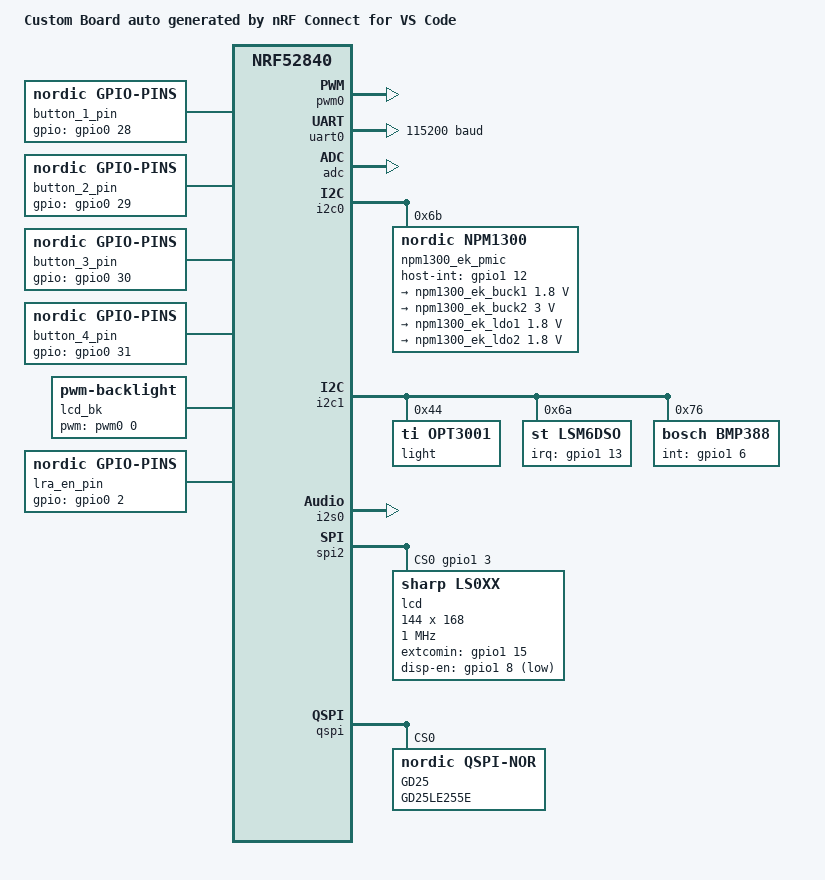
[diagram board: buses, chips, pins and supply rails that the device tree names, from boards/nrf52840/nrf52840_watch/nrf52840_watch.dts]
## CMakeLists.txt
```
cmake_minimum_required(VERSION 3.20.0)
find_package(Zephyr)
project(nrf5340-peripherals)

file(GLOB app_sources src/*.c)
target_sources(app PRIVATE ${app_sources})
```

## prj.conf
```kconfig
#
# Copyright (c) 2022 Nordic Semiconductor ASA
#
# SPDX-License-Identifier: LicenseRef-Nordic-5-Clause
#
CONFIG_PRINTK=y
CONFIG_FLASH=y

CONFIG_PWM=y
CONFIG_ADC=y
CONFIG_ADC_NRFX_SAADC=y

CONFIG_SPI=y
CONFIG_SPI_SHELL=y
CONFIG_FLASH=y
CONFIG_NORDIC_QSPI_NOR=y

CONFIG_I2C=y
CONFIG_I2C_SHELL=y

CONFIG_LED=y
CONFIG_GPIO=y
CONFIG_REGULATOR=y
CONFIG_SENSOR=y
CONFIG_DISPLAY=y

CONFIG_I2S=y

CONFIG_NCS_SAMPLES_DEFAULTS=y
CONFIG_BT=y
CONFIG_BT_SMP=y
CONFIG_BT_PERIPHERAL=y
CONFIG_BT_DEVICE_NAME="BT_watch_shell"
CONFIG_BT_DEVICE_APPEARANCE=833
CONFIG_BT_MAX_CONN=2
CONFIG_BT_MAX_PAIRED=2

CONFIG_SHELL=n
CONFIG_SHELL_BT_NUS=y
CONFIG_SHELL_BT_NUS_LOG_LEVEL_DBG=y

CONFIG_PM_DEVICE=y
CONFIG_POWEROFF=y
CONFIG_NRFX_TIMER0=y
CONFIG_DYNAMIC_INTERRUPTS=y
CONFIG_TEST_RANDOM_GENERATOR=y

CONFIG_HEAP_MEM_POOL_SIZE=4096
```

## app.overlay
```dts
/*
 * Copyright (c) 2022 Nordic Semiconductor ASA
 *
 * SPDX-License-Identifier: LicenseRef-Nordic-5-Clause
 */

#include <dt-bindings/regulator/npm1300.h>

/ {
	lra_en_pin: lra-en-pin {
                compatible = "nordic,gpio-pins";
                gpios = <&gpio0 2 GPIO_ACTIVE_HIGH>;
                status = "okay";
	};

	lcd_bk_en_pin: lcd-bk-en-pin {
                compatible = "nordic,gpio-pins";
                gpios = <&gpio1 8 GPIO_ACTIVE_HIGH>;
                status = "okay";
	};

	lcd_vcom_pin: lcd-vcom-pin {
                compatible = "nordic,gpio-pins";
                gpios = <&gpio1 15 GPIO_ACTIVE_HIGH>;
                status = "okay";
	};

	i2s_mclk_pin: i2s-mclk-pin {
                compatible = "nordic,gpio-pins";
                gpios = <&gpio1 9 GPIO_ACTIVE_HIGH>;
                status = "okay";
	};

	lsm6d_int1_pin: lsm6d-int1-pin {
                compatible = "nordic,gpio-pins";
                gpios = <&gpio1 13 GPIO_ACTIVE_HIGH>;
                status = "okay";
	};

	lsm6d_int2_pin: lsm6d-int2-pin {
                compatible = "nordic,gpio-pins";
                gpios = <&gpio1 11 GPIO_ACTIVE_HIGH>;
                status = "okay";
	};

	press_int_pin: press-int-pin {
                compatible = "nordic,gpio-pins";
                gpios = <&gpio1 6 GPIO_ACTIVE_HIGH>;
                status = "okay";
	};

	button_1_pin: button-1-pin {
                compatible = "nordic,gpio-pins";
                gpios = <&gpio0 28 GPIO_ACTIVE_HIGH>;
                status = "okay";
	};

	button_2_pin: button-2-pin {
                compatible = "nordic,gpio-pins";
                gpios = <&gpio0 29 GPIO_ACTIVE_HIGH>;
                status = "okay";
	};

	button_3_pin: button-3-pin {
                compatible = "nordic,gpio-pins";
                gpios = <&gpio0 30 GPIO_ACTIVE_HIGH>;
                status = "okay";
	};

	button_4_pin: button-4-pin {
                compatible = "nordic,gpio-pins";
                gpios = <&gpio0 31 GPIO_ACTIVE_HIGH>;
                status = "okay";
	};

	chosen {
		zephyr,display = &lcd;
	};
};

&pdm0 {
	pinctrl-0 = <&pdm0_default>;
	pinctrl-1 = <&pdm0_sleep>;
	pinctrl-names = "default", "sleep";
        status = "okay";
};

&gpio0 {
        status = "okay";
};


&gpio1 {
        status = "okay";
};


&pwm0 {
        status = "disabled";
};

&sw_pwm {
        status = "okay";
        channel-gpios = <&gpio1 7 PWM_POLARITY_INVERTED>;
};

&pwm_led0 {
        status = "okay";
        pwms = <&sw_pwm 0 PWM_MSEC(20) PWM_POLARITY_INVERTED>;
};

&adc {
	status = "okay";
};

&i2c1 {
        status = "okay";
        pinctrl-0 = <&i2c1_default>;
        pinctrl-1 = <&i2c1_sleep>;
        pinctrl-names = "default", "sleep";
        light: opt3001-light@44 {
                status = "okay";
                compatible = "ti,opt3001";
                reg = <0x44>;
	};

        lsm6dso: lsm6dso@6a {
		compatible = "st,lsm6dso";
		reg = <0x6a>;
		irq-gpios = <&gpio1 13 GPIO_ACTIVE_HIGH>;
                status = "okay";
	};

        bmp388: bmp388@76 {
		compatible = "bosch,bmp388";
		reg = <0x76>;
                int-gpios = <&gpio1 6 GPIO_ACTIVE_HIGH>;
		odr = "50";
		osr-press = <4>;
		osr-temp = <2>;
		status = "okay";
	};
};

&i2c1_default {
        group1 {
                bias-pull-up;
        };
};

&npm1300_ek_ldo1 {
        regulator-initial-mode = <NPM1300_LDSW_MODE_LDSW>;
};

&npm1300_ek_buck2 {
	regulator-init-microvolt = < 3000000 >;
};

&npm1300_ek_pmic {
        host-int-gpios = <&gpio1 12 0>;
        pmic-int-pin = <1>;
};

i2s_rxtx: &i2s0 {
        status = "okay";
        pinctrl-0 = <&i2s0_default_alt>;
        pinctrl-names = "default";
};

&spi1 {
        status = "disabled";
};

&spi2 {
        status = "okay";
        pinctrl-0 = <&spi2_default>;
        pinctrl-1 = <&spi2_sleep>;
        pinctrl-names = "default", "sleep";
        cs-gpios = <&gpio1 3 GPIO_ACTIVE_HIGH>;
        lcd: ls0xx@0 {
		compatible = "sharp,ls0xx";
                reg = <0>;
                extcomin-gpios = <&gpio1 15 GPIO_ACTIVE_HIGH>;
                disp-en-gpios = <&gpio1 8 GPIO_ACTIVE_HIGH>;
                extcomin-frequency = <120>;
                height = <144>;
                width = <168>;
                spi-max-frequency = <1000000>;
                status = "okay";
	};
};

&pinctrl {
        uart0_default: uart0_default {
                group1 {
                        psels = <NRF_PSEL(UART_TX, 0, 27)>;
                };
                group2 {
                        psels = <NRF_PSEL(UART_RX, 0, 5)>;
                        bias-pull-up;
                };
        };

        uart0_sleep: uart0_sleep {
                group1 {
                        psels = <NRF_PSEL(UART_TX, 0, 27)>,
                                <NRF_PSEL(UART_RX, 0, 5)>;
                        low-power-enable;
                };
        };

	i2c0_default: i2c0_default {
		group1 {
			psels = <NRF_PSEL(TWIM_SDA, 0, 15)>,
				<NRF_PSEL(TWIM_SCL, 0, 14)>;
		};
	};

	i2c0_sleep: i2c0_sleep {
		group1 {
			psels = <NRF_PSEL(TWIM_SDA, 0, 15)>,
				<NRF_PSEL(TWIM_SCL, 0, 14)>;
			low-power-enable;
		};
	};

        i2c1_default: i2c1_default {
                group1 {
                        psels = <NRF_PSEL(TWIM_SDA, 0, 11)>,
                                <NRF_PSEL(TWIM_SCL, 0, 25)>;
                };
        };

        i2c1_sleep: i2c1_sleep {
                group1 {
                        psels = <NRF_PSEL(TWIM_SDA, 0, 11)>,
                                <NRF_PSEL(TWIM_SCL, 0, 25)>;
                        low-power-enable;
                };
        };

        i2s0_default_alt: i2s0_default_alt {
                group1 {
                        psels = <NRF_PSEL(I2S_SCK_M, 0, 12)>,
                                <NRF_PSEL(I2S_LRCK_M, 0, 7)>,
                                <NRF_PSEL(I2S_MCK, 1, 9)>,
                                <NRF_PSEL(I2S_SDOUT, 0, 13)>;
                };
        };

        spi2_default: spi2_default {
                group1 {
                        psels = <NRF_PSEL(SPIM_SCK, 0, 6)>,
                                <NRF_PSEL(SPIM_MOSI, 0, 8)>,
                                <NRF_PSEL(SPIM_MISO, 0, 4)>;
                };
        };

        spi2_sleep: spi2_sleep {
                group1 {
                        psels = <NRF_PSEL(SPIM_SCK, 0, 6)>,
                                <NRF_PSEL(SPIM_MOSI, 0, 8)>,
                                <NRF_PSEL(SPIM_MISO, 0, 4)>;
                        low-power-enable;
                };
        };

	pdm0_default: pdm0_default {
		group1 {
			psels = <NRF_PSEL(PDM_CLK, 0, 0)>,
				<NRF_PSEL(PDM_DIN, 0, 1)>;
		};
	};

	pdm0_sleep: pdm0_sleep {
		group1 {
			psels = <NRF_PSEL(PDM_CLK, 0, 0)>,
				<NRF_PSEL(PDM_DIN, 0, 1)>;
				low-power-enable;
		};
	};
};
```

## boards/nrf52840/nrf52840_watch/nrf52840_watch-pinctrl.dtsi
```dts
&pinctrl {
        uart0_default: uart0_default {
                group1 {
                        psels = <NRF_PSEL(UART_TX, 0, 27)>;
                };
                group2 {
                        psels = <NRF_PSEL(UART_RX, 0, 5)>;
                        bias-pull-up;
                };
        };

        uart0_sleep: uart0_sleep {
                group1 {
                        psels = <NRF_PSEL(UART_TX, 0, 27)>,
                                <NRF_PSEL(UART_RX, 0, 5)>;
                        low-power-enable;
                };
        };

        i2c0_default: i2c0_default {
                group1 {
                        psels = <NRF_PSEL(TWIM_SDA, 0, 15)>,
                                <NRF_PSEL(TWIM_SCL, 0, 14)>;
                        bias-pull-up;
                };
        };

        i2c0_sleep: i2c0_sleep {
                group1 {
                        psels = <NRF_PSEL(TWIM_SDA, 0, 15)>,
                                <NRF_PSEL(TWIM_SCL, 0, 14)>;
                        low-power-enable;
                };
        };

        i2c1_default: i2c1_default {
                group1 {
                        psels = <NRF_PSEL(TWIM_SDA, 0, 11)>,
                                <NRF_PSEL(TWIM_SCL, 0, 25)>;
                };
        };

        i2c1_sleep: i2c1_sleep {
                group1 {
                        psels = <NRF_PSEL(TWIM_SDA, 0, 11)>,
                                <NRF_PSEL(TWIM_SCL, 0, 25)>;
                        low-power-enable;
                };
        };

        i2s0_default_alt: i2s0_default_alt {
                group1 {
                        psels = <NRF_PSEL(I2S_SCK_M, 0, 12)>,
                                <NRF_PSEL(I2S_LRCK_M, 0, 7)>,
                                <NRF_PSEL(I2S_MCK, 1, 9)>,
                                <NRF_PSEL(I2S_SDOUT, 0, 13)>;
                };
        };

        spi2_default: spi2_default {
                group1 {
                        psels = <NRF_PSEL(SPIM_SCK, 0, 6)>,
                                <NRF_PSEL(SPIM_MOSI, 0, 8)>,
                                <NRF_PSEL(SPIM_MISO, 0, 4)>;
                };
        };

        spi2_sleep: spi2_sleep {
                group1 {
                        psels = <NRF_PSEL(SPIM_SCK, 0, 6)>,
                                <NRF_PSEL(SPIM_MOSI, 0, 8)>,
                                <NRF_PSEL(SPIM_MISO, 0, 4)>;
                        low-power-enable;
                };
        };

        pwm0_default: pwm0_default {
		group1 {
			psels = <NRF_PSEL(PWM_OUT0, 0, 26)>;
			nordic,invert;
		};
	};

	pwm0_sleep: pwm0_sleep {
		group1 {
			psels = <NRF_PSEL(PWM_OUT0, 0, 26)>;
			low-power-enable;
		};
	};
	qspi_default: qspi_default {
		group1 {
			psels = <NRF_PSEL(QSPI_SCK, 0, 19)>,
				<NRF_PSEL(QSPI_IO0, 0, 20)>,
				<NRF_PSEL(QSPI_IO1, 0, 21)>,
				<NRF_PSEL(QSPI_IO2, 0, 22)>,
				<NRF_PSEL(QSPI_IO3, 0, 23)>,
				<NRF_PSEL(QSPI_CSN, 0, 17)>;
			nordic,drive-mode = <NRF_DRIVE_H0H1>;
		};
	};

	qspi_sleep: qspi_sleep {
		group1 {
			psels = <NRF_PSEL(QSPI_SCK, 0, 19)>,
				<NRF_PSEL(QSPI_IO0, 0, 20)>,
				<NRF_PSEL(QSPI_IO1, 0, 21)>,
				<NRF_PSEL(QSPI_IO2, 0, 22)>,
				<NRF_PSEL(QSPI_IO3, 0, 23)>;
			low-power-enable;
		};
		group2 {
			psels = <NRF_PSEL(QSPI_CSN, 0, 17)>;
			low-power-enable;
			bias-pull-up;
		};
	};
};
```

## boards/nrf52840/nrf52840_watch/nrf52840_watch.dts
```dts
/dts-v1/;
#include <nordic/nrf52840_qfaa.dtsi>
#include "nrf52840_watch-pinctrl.dtsi"
#include <dt-bindings/regulator/npm1300.h>
#include <zephyr/dt-bindings/input/input-event-codes.h>
#include <zephyr/dt-bindings/sensor/lsm6dso.h>

/ {
	model = "Custom Board auto generated by nRF Connect for VS Code";
	compatible = "nrf52840,nrf52840-watch";

	button_1_pin: button_1_pin {
		compatible = "nordic,gpio-pins";
		gpios = <&gpio0 28 GPIO_ACTIVE_HIGH>;
		status = "okay";
	};
	
	button_2_pin: button-2-pin {
		compatible = "nordic,gpio-pins";
		gpios = <&gpio0 29 GPIO_ACTIVE_HIGH>;
		status = "okay";
	};
	
	button_3_pin: button-3-pin {
		compatible = "nordic,gpio-pins";
		gpios = <&gpio0 30 GPIO_ACTIVE_HIGH>;
		status = "okay";
	};
	
	button_4_pin: button-4-pin {
		compatible = "nordic,gpio-pins";
		gpios = <&gpio0 31 GPIO_ACTIVE_HIGH>;
		status = "okay";
	};

	lcd_bk: lcd-bk {
        compatible = "pwm-backlight";
        pwms = <&pwm0 0 PWM_MSEC(20) PWM_POLARITY_NORMAL>;
		freq =  <256>;
		status = "okay";
    };

	lra_en_pin: lra-en-pin {
                compatible = "nordic,gpio-pins";
                gpios = <&gpio0 2 GPIO_ACTIVE_HIGH>;
                status = "okay";
	};
	chosen {
		zephyr,sram = &sram0;
		zephyr,flash = &flash0;
		zephyr,flash-rootfs = &slot0_partition;
		zephyr,console = &uart0;
		zephyr,shell-uart = &uart0;
		zephyr,display = &lcd;
	};
};

&flash0 {
	partitions {
		compatible = "fixed-partitions";
		#address-cells = <1>;
		#size-cells = <1>;
		
		boot_partition: partition@0 {
			label = "mcuboot";
			reg = <0x00000000 DT_SIZE_K(48)>;
		};
		
		slot0_partition: partition@c000 {
			label = "image-0";
			reg = <0x0000c000 DT_SIZE_K(472)>;
		};
		
		slot1_partition: partition@82000 {
			label = "image-1";
			reg = <0x00082000 DT_SIZE_K(472)>;
		};
		
		storage_partition: partition@f8000 {
			label = "storage";
			reg = <0x000f8000 DT_SIZE_K(32)>;
		};
	};
};

&gpio0 {
	status = "okay";
};

&gpio1 {
	status = "okay";
};

&gpiote {
	status = "okay";
};

&pwm0 {
	status = "okay";
	pinctrl-0 = <&pwm0_default>;
	pinctrl-1 = <&pwm0_sleep>;
	pinctrl-names = "default", "sleep";
};

&uart0 {
	compatible = "nordic,nrf-uarte";
	status = "okay";
	current-speed = <115200>;
	pinctrl-0 = <&uart0_default>;
	pinctrl-1 = <&uart0_sleep>;
	pinctrl-names = "default", "sleep";
};

&adc {
	status = "okay";
};

&i2c0 {
	compatible = "nordic,nrf-twi";
	status = "okay";
	pinctrl-0 = <&i2c0_default>;
	pinctrl-1 = <&i2c0_sleep>;
	pinctrl-names = "default", "sleep";
	
	npm1300_ek_pmic: pmic@6b {
		compatible = "nordic,npm1300";
		reg = <0x6b>;
        host-int-gpios = <&gpio1 12 0>;
        pmic-int-pin = <1>;
		
		npm1300_ek_gpio: gpio-controller {
			compatible = "nordic,npm1300-gpio";
			gpio-controller;
			#gpio-cells = <2>;
			ngpios = <5>;
		};
		
		npm1300_ek_regulators: regulators {
			compatible = "nordic,npm1300-regulator";
			
			/* limits are set to min/max allowed values */
			npm1300_ek_buck1: BUCK1 {
				regulator-min-microvolt = <1800000>;
				regulator-max-microvolt = <1800000>;
			};
			
			npm1300_ek_buck2: BUCK2 {
				regulator-min-microvolt = <3000000>;
				regulator-max-microvolt = <3000000>;
			};
			
			npm1300_ek_ldo1: LDO1 {
				regulator-min-microvolt = <1800000>;
				regulator-max-microvolt = <1800000>;
				regulator-init-microvolt = <1800000>;
				regulator-initial-mode = <NPM1300_LDSW_MODE_LDO>;
			};
			
			npm1300_ek_ldo2: LDO2 {
				regulator-min-microvolt = <1800000>;
				regulator-max-microvolt = <1800000>;
				regulator-init-microvolt = <1800000>;
				regulator-initial-mode = <NPM1300_LDSW_MODE_LDO>;
			};
		};
		
		npm1300_ek_charger: charger {
			compatible = "nordic,npm1300-charger";
			term-microvolt = <4150000>;
			term-warm-microvolt = <4000000>;
			current-microamp = <150000>;
			dischg-limit-microamp = <1000000>;
			vbus-limit-microamp = <500000>;
			thermistor-ohms = <10000>;
			thermistor-beta = <3380>;
			charging-enable;
		};
		
		npm1300_ek_buttons: buttons {
			compatible = "gpio-keys";
			pmic_button0: pmic_button_0 {
				gpios = < &npm1300_ek_gpio 0 GPIO_ACTIVE_HIGH>;
				label = "Pmic button switch 0";
				zephyr,code = <INPUT_KEY_0>;
			};
		};
		
		npm1300_ek_leds: leds {
			compatible = "nordic,npm1300-led";
			nordic,led0-mode = "error";
			nordic,led1-mode = "charging";
			nordic,led2-mode = "host";
		};
	};
};

&i2c1 {
	status = "okay";
	pinctrl-0 = <&i2c1_default>;
	pinctrl-1 = <&i2c1_sleep>;
	pinctrl-names = "default", "sleep";
	light: opt3001-light@44 {
		status = "okay";
		compatible = "ti,opt3001";
		reg = <0x44>;
	};
	
	lsm6dso: lsm6dso@6a {
		compatible = "st,lsm6dso";
		reg = <0x6a>;
		irq-gpios = <&gpio1 13 GPIO_ACTIVE_HIGH>;
		accel-pm = <LSM6DSO_DT_XL_ULP_MODE>;
  		gyro-pm = <LSM6DSO_DT_GY_NORMAL_MODE>;
		status = "okay";
	};
	
	bmp388: bmp388@76 {
		compatible = "bosch,bmp388";
		reg = <0x76>;
		int-gpios = <&gpio1 6 GPIO_ACTIVE_HIGH>;
		odr = "50";
		osr-press = <4>;
		osr-temp = <2>;
		status = "okay";
	};
};

&reg1 {
	regulator-initial-mode = <NRF5X_REG_MODE_LDO>;
};

i2s_rxtx: &i2s0 {
	status = "okay";
	pinctrl-0 = <&i2s0_default_alt>;
	pinctrl-names = "default";
	// clock-source = "PCLK32M";
};

&spi1 {
	status = "disabled";
};

&spi2 {
	status = "okay";
	pinctrl-0 = <&spi2_default>;
	pinctrl-1 = <&spi2_sleep>;
	pinctrl-names = "default", "sleep";
	cs-gpios = <&gpio1 3 GPIO_ACTIVE_HIGH>;
	lcd: ls0xx@0 {
		compatible = "sharp,ls0xx";
		reg = <0>;
		extcomin-gpios = <&gpio1 15 GPIO_ACTIVE_HIGH>;
		disp-en-gpios = <&gpio1 8 GPIO_ACTIVE_LOW>;
		extcomin-frequency = <120>;
		height = <168>;
		width = <144>;
		spi-max-frequency = <1000000>;
		status = "okay";
	};
};

&qspi {
	status = "okay";
	pinctrl-0 = <&qspi_default>;
	pinctrl-1 = <&qspi_sleep>;
	pinctrl-names = "default", "sleep";

	GD25: GD25LE255E@0 {
		compatible = "nordic,qspi-nor";
		reg = <0>;
		sck-frequency = <8000000>;
		size = <268435456>;
		has-dpd;
		t-enter-dpd = <3000>;
		t-exit-dpd = <20000>;
		sfdp-bfp = [e5 20 f3 ff  ff ff ff 0f  44 eb 08 6b  08 3b 42 bb
			    fe ff ff ff  ff ff 00 ff  ff ff 42 eb  0c 20 0f 52
			    10 d8 00 ff  d4 31 a5 fe  84 df 14 4f  ec 62 16 33
			    7a 75 7a 75  04 b3 d5 5c  19 06 14 00  08 50 00 01];
		jedec-id = [c8 60 19];
	};
};
```

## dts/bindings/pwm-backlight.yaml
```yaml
description: PWM-driven backlight

compatible: "pwm-backlight"

include: base.yaml

properties:
  pwms:
    required: true
    type: phandle-array
    description: PWM specifier driving the backlight.

  freq:
    required: true
    type: int
    description: Frequency of the PWM signal in Hz.
```

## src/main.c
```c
#include <zephyr/kernel.h>
#include <zephyr/sys/printk.h>

#include <zephyr/drivers/gpio.h>
#include <zephyr/drivers/flash.h>
#include <zephyr/device.h>
#include <zephyr/drivers/uart.h>
#include <zephyr/drivers/pwm.h>
#include <zephyr/drivers/gpio.h>
#include <zephyr/shell/shell.h>

void test_lcd(uint8_t param1, uint8_t param2);

const struct pwm_dt_spec backlight = PWM_DT_SPEC_GET(DT_NODELABEL(lcd_bk));
uint32_t freq = DT_PROP(DT_NODELABEL(lcd_bk), freq);
static const struct gpio_dt_spec button_2 =
	GPIO_DT_SPEC_GET_OR(DT_NODELABEL(button_2_pin), gpios, {0});
static const struct gpio_dt_spec button_3 =
	GPIO_DT_SPEC_GET_OR(DT_NODELABEL(button_3_pin), gpios, {0});
static const struct gpio_dt_spec button_4 =
	GPIO_DT_SPEC_GET_OR(DT_NODELABEL(button_4_pin), gpios, {0});

void button_thread(void *p1, void *p2, void *p3)
{
	int button2, button3, button4;
	uint32_t period, pulse_width, duty = 50;

	if (button_2.port)
		gpio_pin_configure_dt(&button_2, GPIO_INPUT | GPIO_PULL_UP);
	if (button_3.port)
		gpio_pin_configure_dt(&button_3, GPIO_INPUT | GPIO_PULL_UP);
	if (button_4.port)
		gpio_pin_configure_dt(&button_4, GPIO_INPUT | GPIO_PULL_UP);
	while (1)
	{
		button2 = gpio_pin_get(button_2.port, button_2.pin);
		button3 = gpio_pin_get(button_3.port, button_3.pin);
		button4 = gpio_pin_get(button_4.port, button_4.pin);
		if (button2 == 0)
		{
			k_msleep(100);
			if (button2 == 0 && duty < 90)
				duty += 10;
		}
		if (button3 == 0)
		{
			k_msleep(100);
			if (button3 == 0)
				duty = 0;
		}
		if (button4 == 0)
		{
			k_msleep(100);
			if (button4 == 0 && duty > 10)
				duty -= 10;
		}
		if (duty > 100)
			duty = 100;
		if (duty < 0)
			duty = 0;

		period = NSEC_PER_SEC / freq;
		pulse_width = (period * duty) / 100;
		pwm_set_dt(&backlight, period, pulse_width); /* code */
	}
}
int main(void)
{
	// create new thread to handle button press
	static K_THREAD_STACK_DEFINE(button_thread_stack, 1024);
	static struct k_thread button_thread_data;
	k_tid_t button_thread_id = k_thread_create(&button_thread_data, button_thread_stack,
											   K_THREAD_STACK_SIZEOF(button_thread_stack), button_thread, NULL, NULL, NULL,
											   0, 0, K_NO_WAIT);
	k_thread_name_set(button_thread_id, "button_thread");

	while (1)
	{
		test_lcd(0x00, 0);
		test_lcd(0xf0, 0);
		test_lcd(0x0f, 0);
	}
	return 0;
}
```

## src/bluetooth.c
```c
#include <zephyr/kernel.h>
#include <zephyr/bluetooth/bluetooth.h>
#include <zephyr/bluetooth/uuid.h>
#include <zephyr/bluetooth/gatt.h>
#include <zephyr/bluetooth/hci.h>
#include <bluetooth/services/nus.h>
#include <zephyr/logging/log.h>
#include <shell/shell_bt_nus.h>
#include <stdio.h>

LOG_MODULE_REGISTER(app);

#define DEVICE_NAME             CONFIG_BT_DEVICE_NAME
#define DEVICE_NAME_LEN	        (sizeof(DEVICE_NAME) - 1)


static struct bt_conn *current_conn;

static const struct bt_data ad[] = {
	BT_DATA_BYTES(BT_DATA_FLAGS, (BT_LE_AD_GENERAL | BT_LE_AD_NO_BREDR)),
	BT_DATA(BT_DATA_NAME_COMPLETE, DEVICE_NAME, DEVICE_NAME_LEN),
};

static const struct bt_data sd[] = {
	BT_DATA_BYTES(BT_DATA_UUID128_ALL, BT_UUID_NUS_VAL),
};

static void connected(struct bt_conn *conn, uint8_t err)
{
	if (err) {
		LOG_ERR("Connection failed, err 0x%02x %s", err, bt_hci_err_to_str(err));
		return;
	}

	LOG_INF("Connected");
	current_conn = bt_conn_ref(conn);
	shell_bt_nus_enable(conn);
}

static void disconnected(struct bt_conn *conn, uint8_t reason)
{
	LOG_INF("Disconnected, reason 0x%02x %s", reason, bt_hci_err_to_str(reason));

	shell_bt_nus_disable();
	if (current_conn) {
		bt_conn_unref(current_conn);
		current_conn = NULL;
	}
}

static char *log_addr(struct bt_conn *conn)
{
	static char addr[BT_ADDR_LE_STR_LEN];

	bt_addr_le_to_str(bt_conn_get_dst(conn), addr, sizeof(addr));

	return addr;
}

static void __attribute__((unused)) security_changed(struct bt_conn *conn,
						     bt_security_t level,
						     enum bt_security_err err)
{
	char *addr = log_addr(conn);

	if (!err) {
		LOG_INF("Security changed: %s level %u", addr, level);
	} else {
		LOG_INF("Security failed: %s level %u err %d %s", addr, level, err,
			bt_security_err_to_str(err));
	}
}

BT_CONN_CB_DEFINE(conn_callbacks) = {
	.connected    = connected,
	.disconnected = disconnected,
	COND_CODE_1(CONFIG_BT_SMP,
		    (.security_changed = security_changed), ())
};

static void auth_passkey_display(struct bt_conn *conn, unsigned int passkey)
{
	LOG_INF("Passkey for %s: %06u", log_addr(conn), passkey);
}

static void auth_cancel(struct bt_conn *conn)
{
	LOG_INF("Pairing cancelled: %s", log_addr(conn));
}

static void pairing_complete(struct bt_conn *conn, bool bonded)
{
	LOG_INF("Pairing completed: %s, bonded: %d", log_addr(conn), bonded);
}

static void pairing_failed(struct bt_conn *conn, enum bt_security_err reason)
{
	LOG_INF("Pairing failed conn: %s, reason %d %s", log_addr(conn), reason,
		bt_security_err_to_str(reason));
}

static struct bt_conn_auth_cb conn_auth_callbacks = {
	.passkey_display = auth_passkey_display,
	.cancel = auth_cancel,
};

static struct bt_conn_auth_info_cb conn_auth_info_callbacks = {
	.pairing_complete = pairing_complete,
	.pairing_failed = pairing_failed
};

int bluetooth_shell_init(void)
{
	int err;

	printk("Starting Bluetooth NUS shell transport example\n");

	if (IS_ENABLED(CONFIG_BT_SMP)) {
		err = bt_conn_auth_cb_register(&conn_auth_callbacks);
		if (err) {
			printk("Failed to register authorization callbacks.\n");
			return 0;
		}

		err = bt_conn_auth_info_cb_register(&conn_auth_info_callbacks);
		if (err) {
			printk("Failed to register authorization info callbacks.\n");
			return 0;
		}
	}

	err = bt_enable(NULL);
	if (err) {
		LOG_ERR("BLE enable failed (err: %d)", err);
		return 0;
	}

	err = shell_bt_nus_init();
	if (err) {
		LOG_ERR("Failed to initialize BT NUS shell (err: %d)", err);
		return 0;
	}

	err = bt_le_adv_start(BT_LE_ADV_CONN, ad, ARRAY_SIZE(ad), sd,
			      ARRAY_SIZE(sd));
	if (err) {
		LOG_ERR("Advertising failed to start (err %d)", err);
		return 0;
	}

	LOG_INF("Bluetooth ready. Advertising started.");

	return 0;
}
```

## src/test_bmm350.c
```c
#include <zephyr/logging/log.h>
#include <zephyr/shell/shell.h>

#include <zephyr/kernel.h>
#include <nrfx.h>
#include <zephyr/drivers/i2c.h>
#include <zephyr/drivers/gpio.h>
#include <zephyr/random/random.h>

#include "test_bmm350.h"

#define bxy_sens 14.55f
#define bz_sens 9.0f
#define temp_sens 0.00204f
#define ina_xy_gain_trgt 19.46f
#define ina_z_gain_trgt 31.0f
#define adc_gain (1 / 1.5f)
#define lut_gain 0.714607238769531f
#define power (float)(1000000.0 / 1048576.0)

static const struct device *const i2c2_bmm350 = DEVICE_DT_GET(DT_NODELABEL(i2c1));

static const float sensitivity_xy
	= (power / (bxy_sens * ina_xy_gain_trgt * adc_gain * lut_gain));  // uT/LSB
static const float sensitivity_z
	= (power / (bz_sens * ina_z_gain_trgt * adc_gain * lut_gain));
static const float sensitivity_temp
	= 1 / (temp_sens * adc_gain * lut_gain * 1048576);  // C/LSB

static uint8_t last_odr = 0xff;

static int bmm3_update_odr(float time, float* actual_time) {
	int ODR;
	uint8_t AGGR;
	uint8_t AGGR_AVG;
	uint8_t PMU_CMD;

	if (time <= 0)  // suspend and forced mode both use suspend mode
	{
		PMU_CMD = PMU_CMD_SUS;  // amogus
		ODR = 0;
	} else {
		PMU_CMD = PMU_CMD_NM;
		ODR = 1 / time;
	}

	if (time <= 0) {
		AGGR = 0;
		AGGR_AVG = AGGR_NO_AVG;
		time = 0;  // off
	} else if (ODR > 200)  // TODO: this sucks
	{
		AGGR = AGGR_ODR_400Hz;
		AGGR_AVG = AGGR_NO_AVG;
		time = 1.0 / 400;
	} else if (ODR > 100) {
		AGGR = AGGR_ODR_200Hz;
		AGGR_AVG = AGGR_AVG_2;
		time = 1.0 / 200;
	} else if (ODR > 50) {
		AGGR = AGGR_ODR_100Hz;
		AGGR_AVG = AGGR_AVG_4;
		time = 1.0 / 100;
	} else if (ODR > 25) {
		AGGR = AGGR_ODR_50Hz;
		AGGR_AVG = AGGR_AVG_8;
		time = 1.0 / 50;
	} else if (ODR > 12.5) {
		AGGR = AGGR_ODR_25Hz;
		AGGR_AVG = AGGR_AVG_8;
		time = 1.0 / 25;
	} else if (ODR > 6.25) {
		AGGR = AGGR_ODR_12_5Hz;
		AGGR_AVG = AGGR_AVG_8;
		time = 1.0 / 12.5;
	} else if (ODR > 3.125) {
		AGGR = AGGR_ODR_6_25Hz;
		AGGR_AVG = AGGR_AVG_8;
		time = 1.0 / 6.25;
	} else if (ODR > 1.5625) {
		AGGR = AGGR_ODR_3_125Hz;
		AGGR_AVG = AGGR_AVG_8;
		time = 1.0 / 3.125;
	} else if (ODR > 0) {
		AGGR = AGGR_ODR_1_5625Hz;
		AGGR_AVG = AGGR_AVG_8;
		time = 1.0 / 1.5625;
	} else {
		AGGR = AGGR_ODR_200Hz;
		AGGR_AVG = AGGR_NO_AVG;
		time = 0;
	}

	uint8_t AGGR_SET = AGGR_AVG << 4 | AGGR;
	if (last_odr == AGGR_SET) {
		return 1;
	} else {
		last_odr = AGGR_SET;
	}

	int err = i2c_reg_write_byte(i2c2_bmm350, BMM350_ADDR, BMM350_PMU_CMD_AGGR_SET, AGGR_SET);
	err |= i2c_reg_write_byte(i2c2_bmm350, BMM350_ADDR, BMM350_PMU_CMD, PMU_CMD);
	if (err) {
		printk("I2C error");
	}
	if (actual_time != NULL)
		*actual_time = time;
	return err;
}

static int bmm3_init(float time, float* actual_time) {
	int err = i2c_reg_write_byte(i2c2_bmm350, BMM350_ADDR, BMM350_OTP_CMD_REG, 0x80);  // PWR_OFF_OTP
	if (err) {
		printk("I2C error");
	}
	last_odr = 0xff;  // reset last odr
	err |= bmm3_update_odr(time, actual_time);
	return (err < 0 ? err : 0);
}

static void bmm3_shutdown() {
	last_odr = 0xff;  // reset last odr
	int err = i2c_reg_write_byte(i2c2_bmm350, BMM350_ADDR, BMM350_CMD, 0xB6);
	if (err) {
		printk("I2C error");
	}
}

static void bmm3_mag_oneshot() {
	int err = i2c_reg_write_byte(i2c2_bmm350, BMM350_ADDR, BMM350_PMU_CMD, PMU_CMD_FM_FAST);
	if (err) {
		printk("I2C error");
	}
}

static void bmm3_mag_process(uint8_t* raw_m, float m[3]) {
	for (int i = 0; i < 3; i++)  // x, y, z
	{
		m[i] = (int32_t)((((int32_t)raw_m[(i * 3) + 2]) << 16)
						 | (((int32_t)raw_m[(i * 3) + 1]) << 8)
						 | ((int32_t)raw_m[i * 3]));
		m[i] *= i < 2 ? sensitivity_xy : sensitivity_z;
		// m[i] /= 100;  // uT to gauss
	}
}

static void bmm3_mag_read(float m[3]) {
	int err = 0;
	uint8_t status = 1;
    uint8_t reg_addr = BMM350_PMU_CMD_STATUS_0;
	while ((status & 0x01) == 0x01) {  // wait for forced mode to complete
		err |= i2c_write_read(i2c2_bmm350, BMM350_ADDR, &reg_addr, 1, &status , 1);
	}
	uint8_t rawData[11];
    reg_addr = BMM350_MAG_X_XLSB;
	err |= i2c_write_read(i2c2_bmm350, BMM350_ADDR, &reg_addr, 1, &rawData[0], 11);
	if (err) {
		printk("I2C error");
	}
	bmm3_mag_process(rawData+2, m);
}

static float bmm3_temp_read() {
	int err = 0;
	uint8_t rawTemp[5];
	uint8_t status = 1;
	uint8_t reg_addr = BMM350_PMU_CMD_STATUS_0;
	while ((status & 0x01) == 0x01) {  // wait for forced mode to complete
		err |= i2c_write_read(i2c2_bmm350, BMM350_ADDR, &reg_addr, 1, &status , 1);
	}
	reg_addr = BMM350_TEMP_XLSB;
	err |= i2c_write_read(i2c2_bmm350, BMM350_ADDR, &reg_addr, 1, &rawTemp[0], 5);
	if (err) {
		printk("I2C error");
	}
	float temp = (int32_t)((((int32_t)rawTemp[4]) << 16) | (((int32_t)rawTemp[3]) << 8)
						   | ((int32_t)rawTemp[2]));
	temp *= sensitivity_temp;
	// taken from boschsensortec BMM350_SensorAPI, why is this needed?
	if (temp > 0) {
		temp -= 25.49f;
	} else if (temp < 0) {
		temp += 25.49f;
	}
	return temp;
}

int init_bmm350(void)
{
	int ret;
    float time;
    ret = bmm3_init(0, &time);
	return ret;
}

static int test_bmm350(void)
{
	float mag[3];
	float temp;
	bmm3_mag_oneshot();
	k_msleep(100);
	bmm3_mag_read(mag);
	temp = bmm3_temp_read();
	printk("mag: %d, %d, %d, temp: %d.%d\n", (int)mag[0], (int)mag[1], (int)mag[2], (int)temp, (int)(temp * 100) % 100);
	return 0;
}

static int cmd_test_codec(const struct shell *shell, size_t argc, char **argv)
{
	test_bmm350();
	return 0;
}

SHELL_CMD_REGISTER(test_bmm350, NULL, "bmm350 test commands", cmd_test_codec);
```

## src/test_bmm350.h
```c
#ifndef BMM350_h
#define BMM350_h

#define BMM350_ADDR 0x14

#define BMM350_PMU_CMD_AGGR_SET 0x04
#define BMM350_PMU_CMD 0x06
#define BMM350_PMU_CMD_STATUS_0 0x07

#define BMM350_MAG_X_XLSB 0x31

#define BMM350_TEMP_XLSB 0x3A

#define BMM350_OTP_CMD_REG 0x50
#define BMM350_CMD 0x7E

#define AGGR_ODR_400Hz 0x02
#define AGGR_ODR_200Hz 0x03
#define AGGR_ODR_100Hz 0x04
#define AGGR_ODR_50Hz 0x05
#define AGGR_ODR_25Hz 0x06
#define AGGR_ODR_12_5Hz 0x07
#define AGGR_ODR_6_25Hz 0x08
#define AGGR_ODR_3_125Hz 0x09
#define AGGR_ODR_1_5625Hz 0x0A

#define AGGR_NO_AVG 0x00
#define AGGR_AVG_2 0x01
#define AGGR_AVG_4 0x02
#define AGGR_AVG_8 0x03

#define PMU_CMD_SUS 0x00
#define PMU_CMD_NM 0x01
#define PMU_CMD_UPD_OAE 0x02
#define PMU_CMD_FM 0x03
#define PMU_CMD_FM_FAST 0x04

int init_bmm350(void);

#endif
```

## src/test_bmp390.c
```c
#include <zephyr/logging/log.h>
#include <zephyr/shell/shell.h>

#include <zephyr/kernel.h>
#include <zephyr/device.h>
#include <zephyr/drivers/sensor.h>
#include <zephyr/pm/device.h>
#include <nrfx.h>
// 需要修改zephyr/drivers/sensor/bosch/bmp388/bmp388.h 91行 0x50改为0x60
const struct device *const i2c2_bmp390 = DEVICE_DT_GET(DT_NODELABEL(bmp388));

int init_bmp390(void)
{
    if (!device_is_ready(i2c2_bmp390))
    {
        printk("Device not ready\n");
        return -ENODEV;
    }
    pm_device_action_run(i2c2_bmp390, PM_DEVICE_ACTION_SUSPEND);
    return 0;
}

static int test_bmp390(void)
{
    int ret;
    struct sensor_value pressure_data;
    struct sensor_value temp_data;

    if (!device_is_ready(i2c2_bmp390))
    {
        printk("Device not ready\n");
        return -ENODEV;
    }
    pm_device_action_run(i2c2_bmp390, PM_DEVICE_ACTION_RESUME);
    ret = sensor_sample_fetch(i2c2_bmp390);
    if (ret)
    {
        printk("Failed to fetch sample\n");
        return ret;
    }

    ret = sensor_channel_get(i2c2_bmp390, SENSOR_CHAN_PRESS, &pressure_data);
    if (ret)
    {
        printk("Failed to get pressure data\n");
        return ret;
    }

    ret = sensor_channel_get(i2c2_bmp390, SENSOR_CHAN_AMBIENT_TEMP, &temp_data);
    if (ret)
    {
        printk("Failed to get temp data\n");
        return ret;
    }
    pm_device_action_run(i2c2_bmp390, PM_DEVICE_ACTION_SUSPEND);

    printk("pressure data: %d.%06d, temp data: %d.%06d\n", pressure_data.val1, pressure_data.val2, temp_data.val1, temp_data.val2);
}

static int cmd_test_bmp390(const struct shell *shell, size_t argc, char **argv)
{
    test_bmp390();
    return 0;
}

SHELL_CMD_REGISTER(test_bmp390, NULL, "bmp390 test commands", cmd_test_bmp390);
```

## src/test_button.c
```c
#include <zephyr/logging/log.h>
#include <zephyr/shell/shell.h>
#include <zephyr/kernel.h>
#include <zephyr/device.h>
#include <zephyr/drivers/gpio.h>

static const struct gpio_dt_spec button_1 =
   GPIO_DT_SPEC_GET_OR(DT_NODELABEL(button_1_pin), gpios, {0});
static const struct gpio_dt_spec button_2 =
   GPIO_DT_SPEC_GET_OR(DT_NODELABEL(button_2_pin), gpios, {0});
static const struct gpio_dt_spec button_3 =
   GPIO_DT_SPEC_GET_OR(DT_NODELABEL(button_3_pin), gpios, {0});
static const struct gpio_dt_spec button_4 =
   GPIO_DT_SPEC_GET_OR(DT_NODELABEL(button_4_pin), gpios, {0});

static int cmd_test_button(const struct shell *shell, size_t argc, char **argv)
{
	int button1, button2, button3, button4;
	if(button_1.port)
		gpio_pin_configure_dt(&button_1, GPIO_INPUT | GPIO_PULL_UP);
	if(button_2.port)
		gpio_pin_configure_dt(&button_2, GPIO_INPUT | GPIO_PULL_UP);
	if(button_3.port)
		gpio_pin_configure_dt(&button_3, GPIO_INPUT | GPIO_PULL_UP);
	if(button_4.port)
		gpio_pin_configure_dt(&button_4, GPIO_INPUT | GPIO_PULL_UP);
	button1 = gpio_pin_get(button_1.port, button_1.pin);
	button2 = gpio_pin_get(button_2.port, button_2.pin);
	button3 = gpio_pin_get(button_3.port, button_3.pin);
	button4 = gpio_pin_get(button_4.port, button_4.pin);
	if(button1 < 0)
		printk("failed to read pin: %d\n", button_1.pin);
	if(button2 < 0)
		printk("failed to read pin: %d\n", button_2.pin);
	if(button3 < 0)
		printk("failed to read pin: %d\n", button_3.pin);
	if(button4 < 0)
		printk("failed to read pin: %d\n", button_4.pin);
	printk("button1:%d button2:%d button3:%d button4:%d\n", button1, button2, button3, button4);
	return 0;
}

SHELL_CMD_REGISTER(test_button, NULL, "button test commands", cmd_test_button);
```

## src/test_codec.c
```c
#include <zephyr/logging/log.h>
#include <zephyr/shell/shell.h>

#include <zephyr/kernel.h>
#include <zephyr/drivers/i2s.h>
#include <nrfx.h>
#include <zephyr/drivers/i2c.h>
#include <zephyr/drivers/gpio.h>
#include <zephyr/random/random.h>

#include "test_codec.h"
#include "audio_file.h"

static const struct device *const i2c2_codec = DEVICE_DT_GET(DT_NODELABEL(i2c1));

const struct device *const i2s_dev_tx = DEVICE_DT_GET(I2S_TX_NODE);

static int init_i2c(void)
{
	int ret;
	uint8_t reg_addr = 0x06;
	uint8_t out_data;
	uint16_t slave_addr = 0x001a;
	uint32_t sysClock_Hz, sampleRate_Hz = SAMPLE_FREQUENCY;
	uint8_t indiv = 0, inputDiv = 0;
	uint64_t PllValue = 0;
	uint32_t PllFractional;
	uint8_t PllInteger;
	uint8_t PllFracTop;
	uint8_t PllFracBottom;
	uint32_t masterClock_Hz = MASTER_CLOCK_FREQ;
	static const uint8_t init[][2] = {
		// setup DIG_ROUTING_DAI to DAI
		{0x21, 0x32},
		// word freq to 44.1khz
		{0x22, 0x0a},
		// enalbe master bias
		{0x23, 0x08},
		// reset pll fb div data
		{0X24, 0x00},
		{0X25, 0x00},
		{0X26, 0x20},
		// Sets the input clock range for the PLL 2-10MHz
		{0X27, 0x80},
		// codec in master mode, 32 BCLK per WCLK
		{0x28, 0x80},
		// enable DAI, 16bit per channel
		{0x29, 0x80},
		// setup DIG_ROUTING_DAC to mono
		{0x2a, 0xba},
		// setup MIXIN_R_GAIN to 0dB
		{0x35, 0x03},
		// setup DAC_L_GAIN to 0dB
		{0x45, 0x6f},
		// setup DAC_R_GAIN to 0dB
		{0x46, 0x6f},
		// setup DIALOG7212_CP_CTRL
		{0X47, 0x3d},
		// setup LINE_AMP_GAIN to 0db
		{0x4a, 0x30},//0x3f
		// setup MIXOUT_R_SELECT to DAC_R selected
		{0X4c, 0x08},
		// setup SYSTEM_MODES_OUTPUT to use DAC_R,DAC_L and LINE
		{0X51, 0x08},
		// enable MIXIN_R
		{0x66, 0x80},
		// enable DAC_L
		{0x69, 0x88},
		// enable DAC_R
		{0x6a, 0xa0},
		// setup DIALOG7212_HP_R_CTRL
		{0X6C, 0x40},
		// enable LINE amplifier
		{0x6d, 0xa0},
		// setup DIALOG7212_MIXOUT_R_CTRL
		{0X6F, 0x98},
		// using the PLL with a 2 MHz-5 MHz MCLK
		{0Xf0, 0x8b},
		{0Xf1, 0x03},
		{0Xf0, 0x00},
	};

	// software reset
	reg_addr = 0x1d;
	ret = i2c_reg_write_byte(i2c2_codec, slave_addr, reg_addr, 0x80);
	k_msleep(10);

	// read example
	reg_addr = 0x06;
	ret = i2c_write_read(i2c2_codec, slave_addr, &reg_addr, 1, &out_data, 1);
	if (ret == 0)
	{
		printk("I2C device found at address 0x%02x\n", slave_addr);
	}
	printk("codec i2c read:0x%02x\n", out_data);

	// read chip status
	reg_addr = 0xfd;
	ret = i2c_write_read(i2c2_codec, slave_addr, &reg_addr, 1, &out_data, 1);
	if (ret)
	{
		printk("read codec status failed, err:%d\n", ret);
	}
	printk("chip status:0x%02x\n", out_data);

	for (int i = 0; i < ARRAY_SIZE(init); ++i)
	{
		const uint8_t *entry = init[i];

		ret = i2c_reg_write_byte(i2c2_codec, slave_addr,
								 entry[0], entry[1]);
		printk("set reg 0x%02x to 0x%02x\n", entry[0], entry[1]);
		if (ret < 0)
		{
			printk("Initialization step %d failed\n", i);
			return false;
		}
	}

	if ((sampleRate_Hz == 8000) || (sampleRate_Hz == 16000) || (sampleRate_Hz == 24000) || (sampleRate_Hz == 32000) ||
		(sampleRate_Hz == 48000) || (sampleRate_Hz == 96000))
	{
		sysClock_Hz = 12288000;
	}
	else
	{
		sysClock_Hz = 11289600;
	}
	/* Compute the PLL_INDIV and DIV value for sysClock */
	if ((masterClock_Hz > 2000000) && (masterClock_Hz <= 10000000))
	{
		indiv = 0;
		inputDiv = 2;
	}
	else if ((masterClock_Hz > 10000000) && (masterClock_Hz <= 20000000))
	{
		indiv = 4;
		inputDiv = 4;
	}
	else if ((masterClock_Hz > 20000000) && (masterClock_Hz <= 40000000))
	{
		indiv = 8;
		inputDiv = 8;
	}
	else
	{
		indiv = 12;
		inputDiv = 16;
	}
	/* PLL feedback divider is a Q13 value */
	PllValue = (uint64_t)(((uint64_t)((((uint64_t)sysClock_Hz * SAMPLE_BIT_WIDTH) * inputDiv) << 13)) / (masterClock_Hz));

	/* extract integer and fractional */
	PllInteger = PllValue >> 13;
	PllFractional = (PllValue - (PllInteger << 13));
	PllFracTop = (PllFractional >> 8);
	PllFracBottom = (PllFractional & 0xFF);
	// set pll
	i2c_reg_write_byte(i2c2_codec, slave_addr, 0x24, PllFracTop);
	i2c_reg_write_byte(i2c2_codec, slave_addr, 0x25, PllFracBottom);
	i2c_reg_write_byte(i2c2_codec, slave_addr, 0x26, PllInteger);
	i2c_reg_write_byte(i2c2_codec, slave_addr, 0x27, 0x80 | indiv);
	return 0;
}

static int init_codec(void)
{
	int ret;
	struct i2s_config config;
	if (!device_is_ready(i2s_dev_tx))
	{
		printk("%s is not ready\n", i2s_dev_tx->name);
		return 0;
	}
	config.word_size = SAMPLE_BIT_WIDTH;
	config.channels = NUMBER_OF_CHANNELS;
	config.format = I2S_FMT_DATA_FORMAT_I2S;
	config.options = I2S_OPT_BIT_CLK_SLAVE | I2S_OPT_FRAME_CLK_SLAVE;
	config.frame_clk_freq = SAMPLE_FREQUENCY;
	config.mem_slab = &mem_slab;
	config.block_size = BLOCK_SIZE;
	config.timeout = TIMEOUT;
	ret = i2s_configure(i2s_dev_tx, I2S_DIR_TX, &config);
	if (ret < 0)
	{
		printk("Failed to configure TX stream: %d\n", ret);
		return -1;
	}
	return 0;
}

static int test_codec(void)
{
	int ret;
	ret = i2s_trigger(i2s_dev_tx, I2S_DIR_TX, I2S_TRIGGER_START);
	// enable MCLK and set to 4MHz
	*(volatile uint32_t *)0x40025510 = 0x00000001;
	*(volatile uint32_t *)0x40025514 = 0x20000000;
	if (ret < 0)
	{
		printk("Failed to trigger i2s start: %d\n", ret);
		return -2;
	}
	ret = i2s_write(i2s_dev_tx, i2s_test_data, BLOCK_SIZE);
	if (ret < 0)
	{
		printk("Failed to write data: %d\n", ret);
		return -1;
	}
	k_msleep(100);
	ret = i2s_trigger(i2s_dev_tx, I2S_DIR_TX, I2S_TRIGGER_DROP);
	if (ret < 0)
	{
		printk("Failed to trigger i2s drop: %d\n", ret);
		return -2;
	}
	printk("Streams test OK\n");
	return 0;
}

int init_audio(void)
{
	int ret;
	ret = init_i2c();
	if (ret)
	{
		printk("init i2c failed\n");
		return -1;
	}
	ret = init_codec();
	if (ret)
	{
		printk("init codec failed\n");
		return -1;
	}
	return 0;
}

static int cmd_test_codec(const struct shell *shell, size_t argc, char **argv)
{
	for (int i = 0; i < 10; i++)
	{
		test_codec();
	}
	return 0;
}

SHELL_CMD_REGISTER(test_codec, NULL, "codec test commands", cmd_test_codec);
```

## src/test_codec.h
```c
#ifndef TEST_CODEC_H
#define TEST_CODEC_H

//codec
#define I2S_RX_NODE  DT_NODELABEL(i2s_rxtx)
#define I2S_TX_NODE  I2S_RX_NODE
#define SAMPLE_FREQUENCY    44100
#define SAMPLE_BIT_WIDTH    16
#define BYTES_PER_SAMPLE    sizeof(int16_t)
#define NUMBER_OF_CHANNELS  2
/* Such block length provides an echo with the delay of 100 ms. */
#define SAMPLES_PER_BLOCK   ((SAMPLE_FREQUENCY / 10) * NUMBER_OF_CHANNELS)
#define INITIAL_BLOCKS      2
#define TIMEOUT             1000
#define BLOCK_SIZE  (BYTES_PER_SAMPLE * SAMPLES_PER_BLOCK)
#define BLOCK_COUNT (INITIAL_BLOCKS + 2)
K_MEM_SLAB_DEFINE_STATIC(mem_slab, BLOCK_SIZE, BLOCK_COUNT, 4);

#define MASTER_CLOCK_FREQ_2MHZ   2000000
#define MASTER_CLOCK_FREQ_4MHZ   4000000
#define MASTER_CLOCK_FREQ      MASTER_CLOCK_FREQ_4MHZ

int init_audio(void);

#endif
```

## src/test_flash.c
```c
#include <zephyr/logging/log.h>
#include <zephyr/shell/shell.h>
#include <zephyr/kernel.h>
#include <zephyr/device.h>
#include <zephyr/devicetree.h>
#include <zephyr/drivers/spi.h>
#include <zephyr/drivers/flash.h>

#define SPI_FLASH_TEST_REGION_OFFSET 0xff000
#define SPI_FLASH_SECTOR_SIZE        4096

const struct device *flash_dev = DEVICE_DT_GET_ONE(nordic_qspi_nor);

static int cmd_test_flash(const struct shell *shell, size_t argc, char **argv)
{

    const uint8_t expected[] = {0x55, 0xaa, 0x66, 0x99};
    const size_t len = sizeof(expected);
    uint8_t buf[sizeof(expected)];
    int rc;

	if (!device_is_ready(flash_dev)) {
		printk("%s: device not ready.\n", flash_dev->name);
		return 0;
	}

    printf("\nPerform test on single sector");
    /* Write protection needs to be disabled before each write or
     * erase, since the flash component turns on write protection
     * automatically after completion of write and erase
     * operations.
     */
    printf("\nTest 1: Flash erase\n");
    /* Full flash erase if SPI_FLASH_TEST_REGION_OFFSET = 0 and
     * SPI_FLASH_SECTOR_SIZE = flash size
     */
    rc = flash_erase(flash_dev, SPI_FLASH_TEST_REGION_OFFSET,
                     SPI_FLASH_SECTOR_SIZE);
    if (rc != 0)
    {
        printf("Flash erase failed! %d\n", rc);
    }
    else
    {
        printf("Flash erase succeeded!\n");
    }
    printf("\nTest 2: Flash write\n");
    printf("Attempting to write %zu bytes\n", len);
    rc = flash_write(flash_dev, SPI_FLASH_TEST_REGION_OFFSET, expected, len);
    if (rc != 0)
    {
        printf("Flash write failed! %d\n", rc);
        return -1;
    }
    memset(buf, 0, len);
    rc = flash_read(flash_dev, SPI_FLASH_TEST_REGION_OFFSET, buf, len);
    if (rc != 0)
    {
        printf("Flash read failed! %d\n", rc);
        return -2;
    }
    if (memcmp(expected, buf, len) == 0)
    {
        printf("Data read matches data written. Good!!\n");
    }
    else
    {
        const uint8_t *wp = expected;
        const uint8_t *rp = buf;
        const uint8_t *rpe = rp + len;
        printf("Data read does not match data written!!\n");
        while (rp < rpe)
        {
            printf("%08x wrote %02x read %02x %s\n",
                   (uint32_t)(SPI_FLASH_TEST_REGION_OFFSET + (rp - buf)),
                   *wp, *rp, (*rp == *wp) ? "match" : "MISMATCH");
            ++rp;
            ++wp;
        }
    }
    return 0;
}

SHELL_CMD_REGISTER(test_flash, NULL, "flash test commands", cmd_test_flash);
```

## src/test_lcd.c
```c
#include <zephyr/logging/log.h>
#include <zephyr/shell/shell.h>

#include <zephyr/kernel.h>
#include <zephyr/device.h>
#include <zephyr/drivers/display.h>
#include <zephyr/drivers/pwm.h>
#include <nrfx.h>
#ifdef CONFIG_ARCH_POSIX
#include "posix_board_if.h"
#endif

typedef void (*fill_buffer)(enum corner corner, uint8_t grey, uint8_t *buf,
			    size_t buf_size);


#ifdef CONFIG_ARCH_POSIX
static void posix_exit_main(int exit_code)
{
#if CONFIG_TEST
	if (exit_code == 0) {
		printk("PROJECT EXECUTION SUCCESSFUL");
	} else {
		printk("PROJECT EXECUTION FAILED");
	}
#endif
	posix_exit(exit_code);
}
#endif

int test_lcd(int date, uint32_t duty)
{
	size_t rect_w;
	size_t rect_h;
	size_t h_step;
	size_t scale;
	uint8_t bg_color;
	uint8_t *buf;
	const struct device *display_dev;
	uint32_t freq, period, pulse_width;
	struct display_capabilities capabilities;
	struct display_buffer_descriptor buf_desc;
	size_t buf_size = 0;

	display_dev = DEVICE_DT_GET(DT_CHOSEN(zephyr_display));
	const struct pwm_dt_spec backlight = PWM_DT_SPEC_GET(DT_NODELABEL(lcd_bk));
	freq = DT_PROP(DT_NODELABEL(lcd_bk), freq);
	if (!device_is_ready(display_dev)) {
		printk("Device %s not found. Aborting sample.",
			display_dev->name);
#ifdef CONFIG_ARCH_POSIX
		posix_exit_main(1);
#else
		return 0;
#endif
	}

	if (!pwm_is_ready_dt(&backlight)) {
		printk("Error: PWM device %s is not ready\n", backlight.dev->name);
		return 0;
	}

    period = NSEC_PER_SEC / freq;
    pulse_width = (period * duty) / 100;

	// if (pwm_set_dt(&backlight, period, pulse_width)) {
	// 	printk("Error : failed to set pulse width\n");
	// 	return 0;
	// }

	printk("Display sample for %s, display date: 0x%x\n", display_dev->name, date);
	display_get_capabilities(display_dev, &capabilities);

	if (capabilities.screen_info & SCREEN_INFO_MONO_VTILED) {
		rect_w = 16;
		rect_h = 8;
	} else {
		rect_w = 2;
		rect_h = 1;
	}

	if ((capabilities.x_resolution < 3 * rect_w) ||
	    (capabilities.y_resolution < 3 * rect_h) ||
	    (capabilities.x_resolution < 8 * rect_h)) {
		rect_w = capabilities.x_resolution * 40 / 100;
		rect_h = capabilities.y_resolution * 40 / 100;
		h_step = capabilities.y_resolution * 20 / 100;
		scale = 1;
	} else {
		h_step = rect_h;
		scale = (capabilities.x_resolution / 8) / rect_h;
	}

	rect_w *= scale;
	rect_h *= scale;


	buf_size = rect_w * rect_h;

	if (buf_size < (capabilities.x_resolution * h_step)) {
		buf_size = capabilities.x_resolution * h_step;
	}
	switch (capabilities.current_pixel_format) {
	case PIXEL_FORMAT_ARGB_8888:
		bg_color = 0xFFu;
		buf_size *= 4;
		break;
	case PIXEL_FORMAT_RGB_888:
		bg_color = 0xFFu;
		buf_size *= 3;
		break;
	case PIXEL_FORMAT_RGB_565:
		bg_color = 0xFFu;
		buf_size *= 2;
		break;
	case PIXEL_FORMAT_BGR_565:
		bg_color = 0xFFu;
		buf_size *= 2;
		break;
	case PIXEL_FORMAT_MONO01:
		bg_color = 0xFFu;
		buf_size = DIV_ROUND_UP(DIV_ROUND_UP(
			buf_size, NUM_BITS(uint8_t)), sizeof(uint8_t));
		break;
	case PIXEL_FORMAT_MONO10:
		bg_color = 0x00u;
		buf_size = DIV_ROUND_UP(DIV_ROUND_UP(
			buf_size, NUM_BITS(uint8_t)), sizeof(uint8_t));
		break;
	default:
		printk("Unsupported pixel format. Aborting sample.");
#ifdef CONFIG_ARCH_POSIX
		posix_exit_main(1);
#else
		return 0;
#endif
	}

	buf = k_malloc(buf_size);
	if (buf == NULL) {
		printk("Could not allocate memory. Aborting sample.");
#ifdef CONFIG_ARCH_POSIX
		posix_exit_main(1);
#else
		return 0;
#endif
	}

	(void)memset(buf, date, buf_size);

	buf_desc.buf_size = buf_size;
	buf_desc.pitch = capabilities.x_resolution;
	buf_desc.width = capabilities.x_resolution;
	buf_desc.height = h_step;
	display_blanking_on(display_dev);
	for (int idx = 0; idx < capabilities.y_resolution; idx += h_step) {
		/*
		 * Tweaking the height value not to draw outside of the display.
		 * It is required when using a monochrome display whose vertical
		 * resolution can not be divided by 8.
		 */
		if ((capabilities.y_resolution - idx) < h_step) {
			buf_desc.height = (capabilities.y_resolution - idx);
		}
		display_write(display_dev, 0, idx, &buf_desc, buf);
		k_msleep(10);
	}
	display_blanking_off(display_dev);
	k_free(buf);
}

int cmd_test_lcd(const struct shell *shell, size_t argc, char **argv)
{
	int date;
	uint32_t duty;
	if (argc > 2) {
		date = strtoul(argv[1], NULL, 16);
		duty = strtoul(argv[2], NULL, 10);
	}
	else if (argc > 1) {
		date = strtoul(argv[1], NULL, 16);
		duty = 0x50;
	} else {
		date = 0x0;
		duty = 0x50;
	}
	test_lcd(date, duty);
	return 0;
}

SHELL_CMD_REGISTER(test_lcd, NULL, "lcd test commands", cmd_test_lcd);
```

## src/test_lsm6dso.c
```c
#include <zephyr/logging/log.h>
#include <zephyr/shell/shell.h>

#include <zephyr/kernel.h>
#include <zephyr/device.h>
#include <zephyr/drivers/i2c.h>
#include <zephyr/drivers/sensor.h>
#include <nrfx.h>

static const struct device *const i2c = DEVICE_DT_GET(DT_NODELABEL(i2c1));
static const struct device *const i2c2_lsm6dso = DEVICE_DT_GET(DT_NODELABEL(lsm6dso));
static const uint8_t slave_addr = DT_PROP(DT_NODELABEL(lsm6dso), reg);
static int lsm6dso_powerdown(void)
{
    int ret;
    uint16_t reg_data[] = {0x10, 0x11};
    for (int i = 0; i < sizeof(reg_data) / sizeof(reg_data[0]); i++)
    {
        ret = i2c_reg_write_byte(i2c, slave_addr, reg_data[i], 0x00);
        if (ret)
        {
            printk("powerdown failed, err:%d\n", ret);
            return ret;
        }
    }
    return ret;
}

static int test_lsm6dso(void)
{
    int ret;
    struct sensor_value accel_data[3];
    struct sensor_value gyro_data[3];
	struct sensor_value odr_attr;
	/* set accel/gyro sampling frequency to 12.5 Hz */
	odr_attr.val1 = 12.5;
	odr_attr.val2 = 0;

    if (!device_is_ready(i2c2_lsm6dso)) {
        printk("Device not ready\n");
        return -ENODEV;
    }

    ret = sensor_attr_set(i2c2_lsm6dso, SENSOR_CHAN_ACCEL_XYZ, SENSOR_ATTR_SAMPLING_FREQUENCY, &odr_attr);
    if (ret) {
        printk("Failed to set accel sampling frequency\n");
        return ret;
    }

    ret = sensor_attr_set(i2c2_lsm6dso, SENSOR_CHAN_GYRO_XYZ, SENSOR_ATTR_SAMPLING_FREQUENCY, &odr_attr);
    if (ret) {
        printk("Failed to set gyro sampling frequency\n");
        return ret;
    }
    
    ret = sensor_sample_fetch(i2c2_lsm6dso);
    if (ret) {
        printk("Failed to fetch sample\n");
        return ret;
    }

    ret = sensor_channel_get(i2c2_lsm6dso, SENSOR_CHAN_ACCEL_XYZ, accel_data);
    if (ret) {
        printk("Failed to get accel data\n");
        return ret;
    }

    ret = sensor_channel_get(i2c2_lsm6dso, SENSOR_CHAN_GYRO_XYZ, gyro_data);
    if (ret) {
        printk("Failed to get gyro data\n");
        return ret;
    }

    printk("accel data: %d.%06d, %d.%06d, %d.%06d\n", accel_data[0].val1, accel_data[0].val2, accel_data[1].val1, accel_data[1].val2, accel_data[2].val1, accel_data[2].val2);
    printk("gyro data: %d.%06d, %d.%06d, %d.%06d\n", gyro_data[0].val1, gyro_data[0].val2, gyro_data[1].val1, gyro_data[1].val2, gyro_data[2].val1, gyro_data[2].val2);
    return ret;
}

static int cmd_test_lsm6dso(const struct shell *shell, size_t argc, char **argv)
{
	test_lsm6dso();
	return 0;
}

SHELL_CMD_REGISTER(test_lsm6dso, NULL, "lsm6dso test commands", cmd_test_lsm6dso);
```
